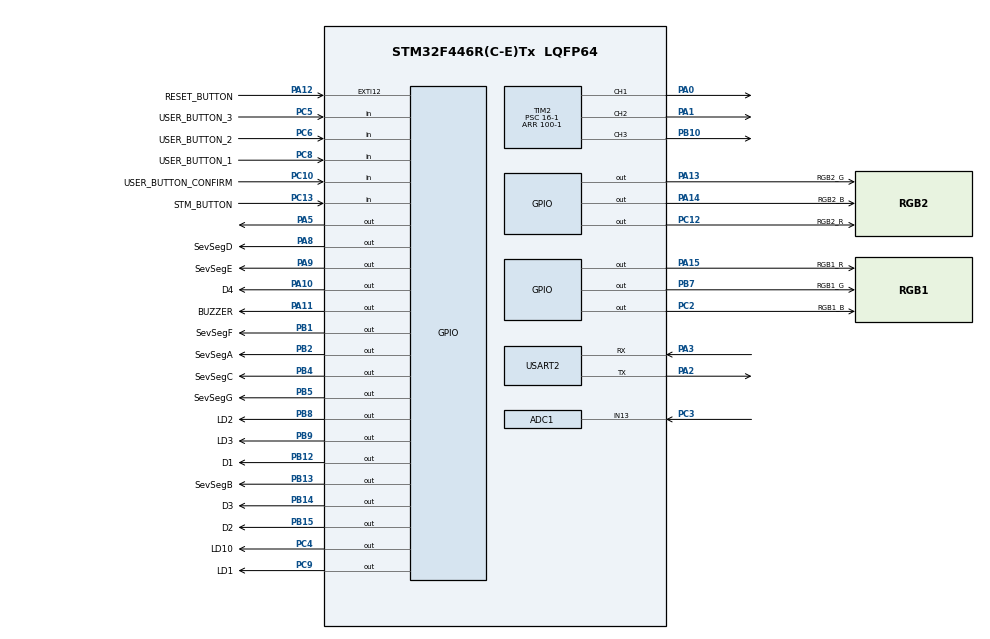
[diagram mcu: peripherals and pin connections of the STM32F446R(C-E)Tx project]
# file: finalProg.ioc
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ADC1.Channel-0\#ChannelRegularConversion=ADC_CHANNEL_13
ADC1.ClockPrescaler=ADC_CLOCK_SYNC_PCLK_DIV2
ADC1.ContinuousConvMode=ENABLE
ADC1.NbrOfConversionFlag=1
ADC1.Rank-0\#ChannelRegularConversion=1
ADC1.SamplingTime-0\#ChannelRegularConversion=ADC_SAMPLETIME_3CYCLES
ADC1.ScanConvMode=DISABLE
ADC1.master=1
Mcu.Family=STM32F4
Mcu.Name=STM32F446R(C-E)Tx
Mcu.Package=LQFP64
NVIC.EXTI15_10_IRQn=true\:0\:0\:false\:false\:true\:true\:true\:true
NVIC.PriorityGroup=NVIC_PRIORITYGROUP_4
NVIC.TIM2_IRQn=true\:0\:0\:false\:false\:true\:true\:true\:true
NVIC.TIM3_IRQn=true\:0\:0\:false\:false\:true\:true\:true\:true
PA0-WKUP.Signal=S_TIM2_CH1_ETR
PA1.Signal=S_TIM2_CH2
PA10.GPIO_Label=D4
PA10.Signal=GPIO_Output
PA11.GPIO_Label=BUZZER
PA11.Signal=GPIO_Output
PA12.GPIO_Label=RESET_BUTTON
PA12.GPIO_ModeDefaultEXTI=GPIO_MODE_IT_RISING
PA12.GPIO_PuPd=GPIO_PULLUP
PA12.Signal=GPXTI12
PA13.GPIO_Label=RGB2_G
PA13.Signal=GPIO_Output
PA14.GPIO_Label=RGB2_B
PA14.Signal=GPIO_Output
PA15.GPIO_Label=RGB1_R
PA15.Signal=GPIO_Output
PA2.Mode=Asynchronous
PA2.Signal=USART2_TX
PA3.Mode=Asynchronous
PA3.Signal=USART2_RX
PA5.Signal=GPIO_Output
PA8.GPIO_Label=SevSegD
PA8.Signal=GPIO_Output
PA9.GPIO_Label=SevSegE
PA9.Signal=GPIO_Output
PB1.GPIO_Label=SevSegF
PB1.Signal=GPIO_Output
PB10.Signal=S_TIM2_CH3
PB12.GPIO_Label=D1
PB12.Signal=GPIO_Output
PB13.GPIO_Label=SevSegB
PB13.Signal=GPIO_Output
PB14.GPIO_Label=D3
PB14.Signal=GPIO_Output
PB15.GPIO_Label=D2
PB15.Signal=GPIO_Output
PB2.GPIO_Label=SevSegA
PB2.Signal=GPIO_Output
PB4.GPIO_Label=SevSegC
PB4.Signal=GPIO_Output
PB5.GPIO_Label=SevSegG
PB5.Signal=GPIO_Output
PB7.GPIO_Label=RGB1_G
PB7.Signal=GPIO_Output
PB8.GPIO_Label=LD2
PB8.Signal=GPIO_Output
PB9.GPIO_Label=LD3
PB9.Signal=GPIO_Output
PC10.GPIO_Label=USER_BUTTON_CONFIRM
PC10.GPIO_PuPd=GPIO_PULLUP
PC10.Signal=GPIO_Input
PC12.GPIO_Label=RGB2_R
PC12.Signal=GPIO_Output
PC13.GPIO_Label=STM_BUTTON
PC13.GPIO_PuPd=GPIO_PULLUP
PC13.Signal=GPIO_Input
PC2.GPIO_Label=RGB1_B
PC2.Signal=GPIO_Output
PC3.Signal=ADCx_IN13
PC4.GPIO_Label=LD10
PC4.Signal=GPIO_Output
PC5.GPIO_Label=USER_BUTTON_3
PC5.GPIO_PuPd=GPIO_PULLUP
PC5.Signal=GPIO_Input
PC6.GPIO_Label=USER_BUTTON_2
PC6.GPIO_PuPd=GPIO_PULLUP
PC6.Signal=GPIO_Input
PC8.GPIO_Label=USER_BUTTON_1
PC8.GPIO_PuPd=GPIO_PULLUP
PC8.Signal=GPIO_Input
PC9.GPIO_Label=LD1
PC9.Signal=GPIO_Output
ProjectManager.HeapSize=0x200
ProjectManager.StackSize=0x400
ProjectManager.TargetToolchain=STM32CubeIDE
RCC.CortexFreq_Value=16000000
RCC.USBFreq_Value=96000000
RCC.VCOOutputFreq_Value=192000000
SH.ADCx_IN13.0=ADC1_IN13,IN13
SH.S_TIM2_CH1_ETR.0=TIM2_CH1,PWM Generation1 CH1
SH.S_TIM2_CH2.0=TIM2_CH2,PWM Generation2 CH2
SH.S_TIM2_CH3.0=TIM2_CH3,PWM Generation3 CH3
TIM2.Channel-PWM\ Generation1\ CH1=TIM_CHANNEL_1
TIM2.Channel-PWM\ Generation2\ CH2=TIM_CHANNEL_2
TIM2.Channel-PWM\ Generation3\ CH3=TIM_CHANNEL_3
TIM2.Period=100-1
TIM2.Prescaler=16-1
TIM3.Period=4000-1
TIM3.Prescaler=4000-1
USART2.VirtualMode=VM_ASYNC
VP_TIM2_VS_ClockSourceINT.Mode=Internal
VP_TIM3_VS_ClockSourceINT.Mode=Internal
board=custom

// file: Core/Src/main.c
/* USER CODE BEGIN Header */
/**
  ******************************************************************************
  * @file           : main.c
  * @brief          : Main program body
  ******************************************************************************
  * @attention
  *
  * Copyright (c) 2025 STMicroelectronics.
  * All rights reserved.
  *
  * This software is licensed under terms that can be found in the LICENSE file
  * in the root directory of this software component.
  * If no LICENSE file comes with this software, it is provided AS-IS.
  *
  ******************************************************************************
  */
/* USER CODE END Header */
#include "main.h"

ADC_HandleTypeDef hadc1;

TIM_HandleTypeDef htim2;
TIM_HandleTypeDef htim3;

UART_HandleTypeDef huart2;

void SystemClock_Config(void);
static void MX_GPIO_Init(void);
static void MX_TIM2_Init(void);
static void MX_TIM3_Init(void);
static void MX_USART2_UART_Init(void);
static void MX_ADC1_Init(void);

/* USER CODE BEGIN 0 */
float 	adc_value;
float	pressChamber;
float 	presThreshold = 0.3;
uint32_t counter = 60;
uint8_t state = 0;
uint8_t pumpPower = 90;
uint8_t interruptFlag = 0;
uint8_t program = 0;
uint8_t progLength [3]= {600, 20, 50};
uint8_t progPWM[3][2] = {
		{80, 0},  // program 1
		{80, 0},  // program 2
		{80, 0},  // program 3
};
uint8_t temp1, temp2, temp3, temp4;
uint8_t segmentNumber[10][7] = {
		{1, 0, 0, 0, 0, 0, 0},  // 0
		{1, 1, 1, 1, 0, 0, 1},  // 1
		{0, 1, 0, 0, 1, 0, 0},  // 2
		{0, 1, 0, 1, 0, 0, 0},  // 3
		{0, 0, 1, 1, 0, 0, 1},  // 4
		{0, 0, 0, 1, 0, 1, 0},  // 5
		{0, 0, 0, 0, 0, 1, 0},  // 6
		{1, 1, 1, 1, 0, 0, 0},  // 7
		{0, 0, 0, 0, 0, 0, 0},  // 8
		{0, 0, 0, 1, 0, 0, 0}   // 9
};

void SevenSegment_Update(uint8_t number){
	HAL_GPIO_WritePin(SevSegA_GPIO_Port, SevSegA_Pin, segmentNumber[number][6]);
	HAL_GPIO_WritePin(SevSegB_GPIO_Port, SevSegB_Pin, segmentNumber[number][5]);
	HAL_GPIO_WritePin(SevSegC_GPIO_Port, SevSegC_Pin, segmentNumber[number][4]);
	HAL_GPIO_WritePin(SevSegD_GPIO_Port, SevSegD_Pin, segmentNumber[number][3]);
	HAL_GPIO_WritePin(SevSegE_GPIO_Port, SevSegE_Pin, segmentNumber[number][2]);
	HAL_GPIO_WritePin(SevSegF_GPIO_Port, SevSegF_Pin, segmentNumber[number][1]);
	HAL_GPIO_WritePin(SevSegG_GPIO_Port, SevSegG_Pin, segmentNumber[number][0]);
}

void ProgramEnd(){
    HAL_TIM_Base_Stop_IT(&htim3);
	HAL_TIM_PWM_Stop(&htim2, TIM_CHANNEL_1);
	HAL_TIM_PWM_Stop(&htim2, TIM_CHANNEL_2);
	HAL_GPIO_WritePin(LD10_GPIO_Port, LD10_Pin, 1);
    HAL_GPIO_WritePin(BUZZER_GPIO_Port, BUZZER_Pin, 1);
    HAL_Delay(1000);
    HAL_GPIO_WritePin(BUZZER_GPIO_Port, BUZZER_Pin, 0);
    HAL_GPIO_WritePin(LD10_GPIO_Port, LD10_Pin, 0);
    HAL_Delay(50);
    state = 0;
    program = 0;
    HAL_GPIO_WritePin(LD1_GPIO_Port, LD1_Pin, 1);
    HAL_GPIO_WritePin(LD2_GPIO_Port, LD2_Pin, 1);
    HAL_GPIO_WritePin(LD3_GPIO_Port, LD3_Pin, 1);
    HAL_GPIO_WritePin(RGB1_R_GPIO_Port, RGB1_R_Pin, 1);
    HAL_GPIO_WritePin(RGB2_R_GPIO_Port, RGB2_R_Pin, 1);
    HAL_GPIO_WritePin(RGB1_G_GPIO_Port, RGB1_G_Pin, 0);
    HAL_GPIO_WritePin(RGB2_G_GPIO_Port, RGB2_G_Pin, 0);
}

void ProgramStart(){
	TIM2->CCR1 = progPWM[1][0];
	TIM2->CCR2 = progPWM[1][1];
	HAL_TIM_PWM_Start(&htim2, TIM_CHANNEL_1);
	HAL_TIM_PWM_Start(&htim2, TIM_CHANNEL_2);
	HAL_TIM_Base_Start_IT(&htim3);
	state =2;
}

void First_program(){

	// reading value
	  HAL_ADC_Start(&hadc1);
	  HAL_ADC_PollForConversion(&hadc1,100);
	  adc_value = HAL_ADC_GetValue(&hadc1);
	  HAL_ADC_Stop(&hadc1);
	  // convert adc_value to pressure value and print in
	  pressChamber = (adc_value/4095) -0.52/3.23;
	  char convertNum[9];
	  snprintf(convertNum,sizeof(convertNum), "%.3f\r\n",pressChamber);
	  HAL_UART_Transmit(&huart2, (uint8_t*)convertNum, strlen(convertNum), HAL_MAX_DELAY);

	if ((pressChamber > presThreshold)||(interruptFlag == 1) || (counter <= 0)){
	    HAL_GPIO_WritePin(LD1_GPIO_Port, LD1_Pin, 0);
	    ProgramEnd();
	}
}

void Second_program(){
	if ((HAL_GPIO_ReadPin(USER_BUTTON_CONFIRM_GPIO_Port, USER_BUTTON_CONFIRM_Pin) == GPIO_PIN_RESET)&&(state == 1)) {
		ProgramStart();
	}
    if ((interruptFlag == 1) || (counter <= 0)){
	    HAL_GPIO_WritePin(LD2_GPIO_Port, LD2_Pin, 0);
	    ProgramEnd();
    }
    else {
    	temp1 = counter/1000;
    	temp2 = ((counter/100)%10);
    	temp3 = ((counter/10)%10);
    	temp4 = (counter%10);
    	SevenSegment_Update(temp2);
    	HAL_GPIO_WritePin(D2_GPIO_Port, D2_Pin, GPIO_PIN_SET);
    	HAL_Delay(5);
    	HAL_GPIO_WritePin(D2_GPIO_Port, D2_Pin, GPIO_PIN_RESET);

    	SevenSegment_Update(temp3);
    	HAL_GPIO_WritePin(D3_GPIO_Port, D3_Pin, GPIO_PIN_SET);
    	HAL_Delay(5);
    	HAL_GPIO_WritePin(D3_GPIO_Port, D3_Pin, GPIO_PIN_RESET);

    	SevenSegment_Update(temp4);
    	HAL_GPIO_WritePin(D4_GPIO_Port, D4_Pin, GPIO_PIN_SET);
    	HAL_Delay(5);
    	HAL_GPIO_WritePin(D4_GPIO_Port, D4_Pin, GPIO_PIN_RESET);}
}

void Third_program(){
	if ((HAL_GPIO_ReadPin(USER_BUTTON_CONFIRM_GPIO_Port, USER_BUTTON_CONFIRM_Pin) == GPIO_PIN_RESET)&&(state == 1)) {
		ProgramStart();
	}
	if ((interruptFlag == 1) || (counter <= 0)){
	    HAL_GPIO_WritePin(LD3_GPIO_Port, LD3_Pin, 0);
	    ProgramEnd();
	}
	else if (counter == 30)
	{
		HAL_TIM_PWM_Stop(&htim2, TIM_CHANNEL_1);
		HAL_TIM_PWM_Stop(&htim2, TIM_CHANNEL_2);
	}
	else if (counter == 20)
	{
		HAL_TIM_PWM_Start(&htim2, TIM_CHANNEL_1);
		HAL_TIM_PWM_Start(&htim2, TIM_CHANNEL_2);
	}
}

void HAL_TIM_PeriodElapsedCallback(TIM_HandleTypeDef *htim)
{
	if (htim->Instance == TIM3){
			counter--;}
}
/* USER CODE END 0 */

int main(void)
{

  /* MCU Configuration--------------------------------------------------------*/

  /* Reset of all peripherals, Initializes the Flash interface and the Systick. */
  HAL_Init();

  /* Configure the system clock */
  SystemClock_Config();

  /* Initialize all configured peripherals */
  MX_GPIO_Init();
  MX_TIM2_Init();
  MX_TIM3_Init();
  MX_USART2_UART_Init();
  MX_ADC1_Init();
  /* USER CODE BEGIN 2 */
  TIM2->CCR3 = 100;
  HAL_TIM_PWM_Start(&htim2, TIM_CHANNEL_3);
  HAL_GPIO_WritePin(LD1_GPIO_Port, LD1_Pin, 1);
  HAL_GPIO_WritePin(LD2_GPIO_Port, LD2_Pin, 1);
  HAL_GPIO_WritePin(LD3_GPIO_Port, LD3_Pin, 1);

  HAL_GPIO_WritePin(RGB1_R_GPIO_Port, RGB1_R_Pin, 1);
  HAL_GPIO_WritePin(RGB2_R_GPIO_Port, RGB2_R_Pin, 1);

  /* USER CODE END 2 */

  /* Infinite loop */
  /* USER CODE BEGIN WHILE */
  while (1)
  {
   	  // przycisk do programu 1
   	  if ((HAL_GPIO_ReadPin(USER_BUTTON_1_GPIO_Port, USER_BUTTON_1_Pin) == GPIO_PIN_RESET)&&(state == 0)) {
   		  counter = progLength[0];
   		  program = 1;
   		  state = 1;
   		  interruptFlag = 0;
   		  HAL_GPIO_WritePin(LD2_GPIO_Port, LD2_Pin, 0);
   		  HAL_GPIO_WritePin(LD3_GPIO_Port, LD3_Pin, 0);
   		  HAL_GPIO_WritePin(LD10_GPIO_Port, LD10_Pin, 0);
   		  HAL_GPIO_WritePin(RGB1_R_GPIO_Port, RGB1_R_Pin, 0);
   		  HAL_GPIO_WritePin(RGB1_G_GPIO_Port, RGB1_R_Pin, 1);
   	  }
   	  // przycisk do programu 2
   	   if ((HAL_GPIO_ReadPin(USER_BUTTON_2_GPIO_Port, USER_BUTTON_2_Pin) == GPIO_PIN_RESET)&&(state == 0)) {
   		  counter = progLength[1];
   		  program = 2;
   		  state = 1;
   		  interruptFlag = 0;
   		  HAL_GPIO_WritePin(LD1_GPIO_Port, LD1_Pin, 0);
   		  HAL_GPIO_WritePin(LD3_GPIO_Port, LD3_Pin, 0);
   		  HAL_GPIO_WritePin(LD10_GPIO_Port, LD10_Pin, 0);
   		  HAL_GPIO_WritePin(RGB2_R_GPIO_Port, RGB2_R_Pin, 0);
   		  HAL_GPIO_WritePin(RGB2_G_GPIO_Port, RGB2_G_Pin, 1);
   	  }
   	  // przycisk do programu 3
   	  if ((HAL_GPIO_ReadPin(USER_BUTTON_3_GPIO_Port, USER_BUTTON_3_Pin) == GPIO_PIN_RESET)&&(state == 0)) {
   		  counter = progLength[2];
   		  program = 3;
   		  state = 1;
   		  interruptFlag = 0;
   		  HAL_GPIO_WritePin(LD2_GPIO_Port, LD2_Pin, 0);
   		  HAL_GPIO_WritePin(LD1_GPIO_Port, LD1_Pin, 0);
   		  HAL_GPIO_WritePin(LD10_GPIO_Port, LD10_Pin, 0);
   		  HAL_GPIO_WritePin(RGB1_R_GPIO_Port, RGB1_R_Pin, 0);
   		  HAL_GPIO_WritePin(RGB1_G_GPIO_Port, RGB1_G_Pin, 1);
   		  HAL_GPIO_WritePin(RGB2_R_GPIO_Port, RGB2_R_Pin, 0);
   		  HAL_GPIO_WritePin(RGB2_G_GPIO_Port, RGB2_G_Pin, 1);
   	  }

   	  	/*const char message[] = "Hello world!\r\n";
   	    HAL_UART_Transmit(&huart2, (uint8_t*)message, strlen(message), HAL_MAX_DELAY);*/
   	  switch (program){
   	  case 1: First_program(); 		//egzekucja pierwszego programu
   	  break;
   	  case 2: Second_program();		//egzekucja drugiego programu
   	  break;
   	  case 3: Third_program();		//egzekucja trzeciego programu
   	  break;
   	  default:
   		  HAL_Delay(50);
   	    }
    /* USER CODE END WHILE */

  }
}

void SystemClock_Config(void)
{
  RCC_OscInitTypeDef RCC_OscInitStruct = {0};
  RCC_ClkInitTypeDef RCC_ClkInitStruct = {0};

  /** Configure the main internal regulator output voltage
  */
  __HAL_RCC_PWR_CLK_ENABLE();
  __HAL_PWR_VOLTAGESCALING_CONFIG(PWR_REGULATOR_VOLTAGE_SCALE3);

  /** Initializes the RCC Oscillators according to the specified parameters
  * in the RCC_OscInitTypeDef structure.
  */
  RCC_OscInitStruct.OscillatorType = RCC_OSCILLATORTYPE_HSI;
  RCC_OscInitStruct.HSIState = RCC_HSI_ON;
  RCC_OscInitStruct.HSICalibrationValue = RCC_HSICALIBRATION_DEFAULT;
  RCC_OscInitStruct.PLL.PLLState = RCC_PLL_NONE;
  if (HAL_RCC_OscConfig(&RCC_OscInitStruct) != HAL_OK)
  {
    Error_Handler();
  }

  /** Initializes the CPU, AHB and APB buses clocks
  */
  RCC_ClkInitStruct.ClockType = RCC_CLOCKTYPE_HCLK|RCC_CLOCKTYPE_SYSCLK
                              |RCC_CLOCKTYPE_PCLK1|RCC_CLOCKTYPE_PCLK2;
  RCC_ClkInitStruct.SYSCLKSource = RCC_SYSCLKSOURCE_HSI;
  RCC_ClkInitStruct.AHBCLKDivider = RCC_SYSCLK_DIV1;
  RCC_ClkInitStruct.APB1CLKDivider = RCC_HCLK_DIV1;
  RCC_ClkInitStruct.APB2CLKDivider = RCC_HCLK_DIV1;

  if (HAL_RCC_ClockConfig(&RCC_ClkInitStruct, FLASH_LATENCY_0) != HAL_OK)
  {
    Error_Handler();
  }
}

static void MX_ADC1_Init(void)
{

  ADC_ChannelConfTypeDef sConfig = {0};

  /** Configure the global features of the ADC (Clock, Resolution, Data Alignment and number of conversion)
  */
  hadc1.Instance = ADC1;
  hadc1.Init.ClockPrescaler = ADC_CLOCK_SYNC_PCLK_DIV2;
  hadc1.Init.Resolution = ADC_RESOLUTION_12B;
  hadc1.Init.ScanConvMode = DISABLE;
  hadc1.Init.ContinuousConvMode = ENABLE;
  hadc1.Init.DiscontinuousConvMode = DISABLE;
  hadc1.Init.ExternalTrigConvEdge = ADC_EXTERNALTRIGCONVEDGE_NONE;
  hadc1.Init.ExternalTrigConv = ADC_SOFTWARE_START;
  hadc1.Init.DataAlign = ADC_DATAALIGN_RIGHT;
  hadc1.Init.NbrOfConversion = 1;
  hadc1.Init.DMAContinuousRequests = DISABLE;
  hadc1.Init.EOCSelection = ADC_EOC_SINGLE_CONV;
  if (HAL_ADC_Init(&hadc1) != HAL_OK)
  {
    Error_Handler();
  }

  /** Configure for the selected ADC regular channel its corresponding rank in the sequencer and its sample time.
  */
  sConfig.Channel = ADC_CHANNEL_13;
  sConfig.Rank = 1;
  sConfig.SamplingTime = ADC_SAMPLETIME_3CYCLES;
  if (HAL_ADC_ConfigChannel(&hadc1, &sConfig) != HAL_OK)
  {
    Error_Handler();
  }

}

static void MX_TIM2_Init(void)
{

  TIM_ClockConfigTypeDef sClockSourceConfig = {0};
  TIM_MasterConfigTypeDef sMasterConfig = {0};
  TIM_OC_InitTypeDef sConfigOC = {0};

  htim2.Instance = TIM2;
  htim2.Init.Prescaler = 16-1;
  htim2.Init.CounterMode = TIM_COUNTERMODE_UP;
  htim2.Init.Period = 100-1;
  htim2.Init.ClockDivision = TIM_CLOCKDIVISION_DIV1;
  htim2.Init.AutoReloadPreload = TIM_AUTORELOAD_PRELOAD_DISABLE;
  if (HAL_TIM_Base_Init(&htim2) != HAL_OK)
  {
    Error_Handler();
  }
  sClockSourceConfig.ClockSource = TIM_CLOCKSOURCE_INTERNAL;
  if (HAL_TIM_ConfigClockSource(&htim2, &sClockSourceConfig) != HAL_OK)
  {
    Error_Handler();
  }
  if (HAL_TIM_PWM_Init(&htim2) != HAL_OK)
  {
    Error_Handler();
  }
  sMasterConfig.MasterOutputTrigger = TIM_TRGO_RESET;
  sMasterConfig.MasterSlaveMode = TIM_MASTERSLAVEMODE_DISABLE;
  if (HAL_TIMEx_MasterConfigSynchronization(&htim2, &sMasterConfig) != HAL_OK)
  {
    Error_Handler();
  }
  sConfigOC.OCMode = TIM_OCMODE_PWM1;
  sConfigOC.Pulse = 0;
  sConfigOC.OCPolarity = TIM_OCPOLARITY_HIGH;
  sConfigOC.OCFastMode = TIM_OCFAST_DISABLE;
  if (HAL_TIM_PWM_ConfigChannel(&htim2, &sConfigOC, TIM_CHANNEL_1) != HAL_OK)
  {
    Error_Handler();
  }
  if (HAL_TIM_PWM_ConfigChannel(&htim2, &sConfigOC, TIM_CHANNEL_2) != HAL_OK)
  {
    Error_Handler();
  }
  if (HAL_TIM_PWM_ConfigChannel(&htim2, &sConfigOC, TIM_CHANNEL_3) != HAL_OK)
  {
    Error_Handler();
  }
  HAL_TIM_MspPostInit(&htim2);

}

static void MX_TIM3_Init(void)
{

  TIM_ClockConfigTypeDef sClockSourceConfig = {0};
  TIM_MasterConfigTypeDef sMasterConfig = {0};

  htim3.Instance = TIM3;
  htim3.Init.Prescaler = 4000-1;
  htim3.Init.CounterMode = TIM_COUNTERMODE_UP;
  htim3.Init.Period = 4000-1;
  htim3.Init.ClockDivision = TIM_CLOCKDIVISION_DIV1;
  htim3.Init.AutoReloadPreload = TIM_AUTORELOAD_PRELOAD_DISABLE;
  if (HAL_TIM_Base_Init(&htim3) != HAL_OK)
  {
    Error_Handler();
  }
  sClockSourceConfig.ClockSource = TIM_CLOCKSOURCE_INTERNAL;
  if (HAL_TIM_ConfigClockSource(&htim3, &sClockSourceConfig) != HAL_OK)
  {
    Error_Handler();
  }
  sMasterConfig.MasterOutputTrigger = TIM_TRGO_RESET;
  sMasterConfig.MasterSlaveMode = TIM_MASTERSLAVEMODE_DISABLE;
  if (HAL_TIMEx_MasterConfigSynchronization(&htim3, &sMasterConfig) != HAL_OK)
  {
    Error_Handler();
  }

}

static void MX_USART2_UART_Init(void)
{

  huart2.Instance = USART2;
  huart2.Init.BaudRate = 115200;
  huart2.Init.WordLength = UART_WORDLENGTH_8B;
  huart2.Init.StopBits = UART_STOPBITS_1;
  huart2.Init.Parity = UART_PARITY_NONE;
  huart2.Init.Mode = UART_MODE_TX_RX;
  huart2.Init.HwFlowCtl = UART_HWCONTROL_NONE;
  huart2.Init.OverSampling = UART_OVERSAMPLING_16;
  if (HAL_UART_Init(&huart2) != HAL_OK)
  {
    Error_Handler();
  }

}

static void MX_GPIO_Init(void)
{
  GPIO_InitTypeDef GPIO_InitStruct = {0};

  /* GPIO Ports Clock Enable */
  __HAL_RCC_GPIOC_CLK_ENABLE();
  __HAL_RCC_GPIOA_CLK_ENABLE();
  __HAL_RCC_GPIOB_CLK_ENABLE();

  /*Configure GPIO pin Output Level */
  HAL_GPIO_WritePin(GPIOC, RGB1_B_Pin|LD10_Pin|LD1_Pin|RGB2_R_Pin, GPIO_PIN_RESET);

  /*Configure GPIO pin Output Level */
  HAL_GPIO_WritePin(GPIOA, GPIO_PIN_5|SevSegD_Pin|SevSegE_Pin|D4_Pin
                          |BUZZER_Pin|RGB2_G_Pin|RGB2_B_Pin|RGB1_R_Pin, GPIO_PIN_RESET);

  /*Configure GPIO pin Output Level */
  HAL_GPIO_WritePin(GPIOB, SevSegF_Pin|SevSegA_Pin|D1_Pin|SevSegB_Pin
                          |D3_Pin|D2_Pin|SevSegC_Pin|SevSegG_Pin
                          |RGB1_G_Pin|LD2_Pin|LD3_Pin, GPIO_PIN_RESET);

  /*Configure GPIO pins : STM_BUTTON_Pin USER_BUTTON_3_Pin USER_BUTTON_2_Pin USER_BUTTON_1_Pin
                           USER_BUTTON_CONFIRM_Pin */
  GPIO_InitStruct.Pin = STM_BUTTON_Pin|USER_BUTTON_3_Pin|USER_BUTTON_2_Pin|USER_BUTTON_1_Pin
                          |USER_BUTTON_CONFIRM_Pin;
  GPIO_InitStruct.Mode = GPIO_MODE_INPUT;
  GPIO_InitStruct.Pull = GPIO_PULLUP;
  HAL_GPIO_Init(GPIOC, &GPIO_InitStruct);

  /*Configure GPIO pins : RGB1_B_Pin LD10_Pin LD1_Pin RGB2_R_Pin */
  GPIO_InitStruct.Pin = RGB1_B_Pin|LD10_Pin|LD1_Pin|RGB2_R_Pin;
  GPIO_InitStruct.Mode = GPIO_MODE_OUTPUT_PP;
  GPIO_InitStruct.Pull = GPIO_NOPULL;
  GPIO_InitStruct.Speed = GPIO_SPEED_FREQ_LOW;
  HAL_GPIO_Init(GPIOC, &GPIO_InitStruct);

  /*Configure GPIO pins : PA5 SevSegD_Pin SevSegE_Pin D4_Pin
                           BUZZER_Pin RGB2_G_Pin RGB2_B_Pin RGB1_R_Pin */
  GPIO_InitStruct.Pin = GPIO_PIN_5|SevSegD_Pin|SevSegE_Pin|D4_Pin
                          |BUZZER_Pin|RGB2_G_Pin|RGB2_B_Pin|RGB1_R_Pin;
  GPIO_InitStruct.Mode = GPIO_MODE_OUTPUT_PP;
  GPIO_InitStruct.Pull = GPIO_NOPULL;
  GPIO_InitStruct.Speed = GPIO_SPEED_FREQ_LOW;
  HAL_GPIO_Init(GPIOA, &GPIO_InitStruct);

  /*Configure GPIO pins : SevSegF_Pin SevSegA_Pin D1_Pin SevSegB_Pin
                           D3_Pin D2_Pin SevSegC_Pin SevSegG_Pin
                           RGB1_G_Pin LD2_Pin LD3_Pin */
  GPIO_InitStruct.Pin = SevSegF_Pin|SevSegA_Pin|D1_Pin|SevSegB_Pin
                          |D3_Pin|D2_Pin|SevSegC_Pin|SevSegG_Pin
                          |RGB1_G_Pin|LD2_Pin|LD3_Pin;
  GPIO_InitStruct.Mode = GPIO_MODE_OUTPUT_PP;
  GPIO_InitStruct.Pull = GPIO_NOPULL;
  GPIO_InitStruct.Speed = GPIO_SPEED_FREQ_LOW;
  HAL_GPIO_Init(GPIOB, &GPIO_InitStruct);

  /*Configure GPIO pin : RESET_BUTTON_Pin */
  GPIO_InitStruct.Pin = RESET_BUTTON_Pin;
  GPIO_InitStruct.Mode = GPIO_MODE_IT_RISING;
  GPIO_InitStruct.Pull = GPIO_PULLUP;
  HAL_GPIO_Init(RESET_BUTTON_GPIO_Port, &GPIO_InitStruct);

  /* EXTI interrupt init*/
  HAL_NVIC_SetPriority(EXTI15_10_IRQn, 0, 0);
  HAL_NVIC_EnableIRQ(EXTI15_10_IRQn);

}

/* USER CODE BEGIN 4 */
void HAL_GPIO_EXTI_Callback(uint16_t GPIO_Pin)
{
	if (GPIO_Pin == GPIO_PIN_12) {
		interruptFlag = 1;
		HAL_GPIO_TogglePin(GPIOA, GPIO_PIN_5);
	  }
}
/* USER CODE END 4 */

void Error_Handler(void)
{
  __disable_irq();
  while (1)
  {
  }
}
